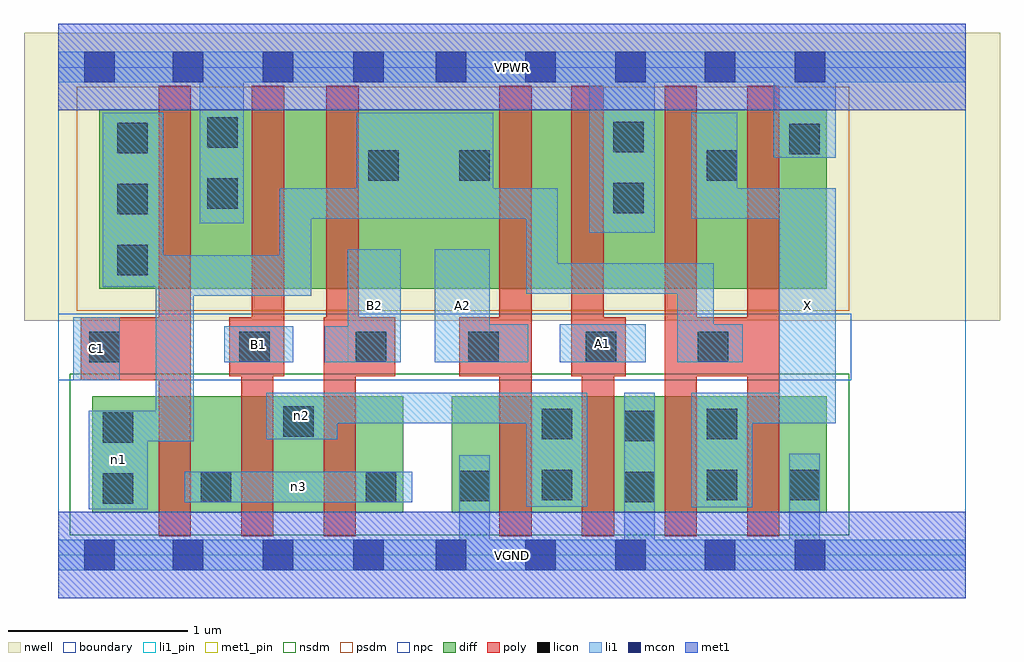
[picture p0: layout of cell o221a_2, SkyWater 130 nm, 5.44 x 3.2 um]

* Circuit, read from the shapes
.subckt o221a_2 A1 A2 B1 B2 C1 VGND VPWR X n1 n2 n3
XM1 n3 C1 n1 VSUBS sky130_fd_pr__nfet_01v8 w=0.65 l=0.18
XM2 n2 B1 n3 VSUBS sky130_fd_pr__nfet_01v8 w=0.65 l=0.18
XM3 n3 B2 n2 VSUBS sky130_fd_pr__nfet_01v8 w=0.65 l=0.18
XM4 n2 A2 VGND VSUBS sky130_fd_pr__nfet_01v8 w=0.65 l=0.18
XM5 VGND A1 n2 VSUBS sky130_fd_pr__nfet_01v8 w=0.65 l=0.18
XM6 X n1 VGND VSUBS sky130_fd_pr__nfet_01v8 w=0.65 l=0.18 m=2
XM7 VPWR C1 n1 n4 sky130_fd_pr__pfet_01v8 w=1 l=0.18
XM8 n5 B1 VPWR n4 sky130_fd_pr__pfet_01v8 w=1 l=0.18
XM9 n1 B2 n5 n4 sky130_fd_pr__pfet_01v8 w=1 l=0.18
XM10 n6 A2 n1 n4 sky130_fd_pr__pfet_01v8 w=1 l=0.18
XM11 VPWR A1 n6 n4 sky130_fd_pr__pfet_01v8 w=1 l=0.18
XM12 X n1 VPWR n4 sky130_fd_pr__pfet_01v8 w=1 l=0.18 m=2
.ends

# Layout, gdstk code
import gdstk
lib = gdstk.Library(unit=1e-6, precision=1e-09)
def R(c, l, rs):  # rectangles x0, y0, x1, y1
    for r in rs: c.add(gdstk.rectangle(r[:2], r[2:], *l))
def A(c, l, x, y, w, h, nx, ny, dx, dy):  # array of equal rectangles
    R(c, l, [(x+i*dx, y+j*dy, x+i*dx+w, y+j*dy+h) for i in range(nx) for j in range(ny)])
nwell = (64, 20)
diff = (65, 20)
poly = (66, 20)
licon = (66, 44)
li1_pin = (67, 16)
li1 = (67, 20)
mcon = (67, 44)
met1_pin = (68, 16)
met1 = (68, 20)
nsdm = (93, 44)
psdm = (94, 20)
npc = (95, 20)
boundary = (235, 4)

o221a_2 = lib.new_cell('o221a_2')
R(o221a_2, nwell, [(-0.19,1.305,5.25,2.91), (0,1.305,5.06,2.91)])
R(o221a_2, diff, [(0.19,0.235,1.925,0.885), (2.195,0.235,4.285,0.885), (0.23,1.485,4.285,2.485)])
R(o221a_2, poly, [(0.56,0.105,0.74,2.615), (1.02,0.105,1.2,1.325), (1.48,0.105,1.66,1.325), (2.46,0.105,2.64,2.615), (2.92,0.105,3.1,1.325), (3.38,0.105,3.56,2.615), (3.84,0.105,4.02,2.615), (0.125,0.975,0.74,1.325), (0.955,0.995,1.26,1.325), (1.08,0.995,1.26,2.615), (1.48,0.995,1.88,1.325), (1.495,0.995,1.675,2.615), (2.235,0.995,2.64,1.325), (2.86,0.995,3.165,1.325), (2.86,0.995,3.04,2.615), (3.38,0.995,4.02,1.325)])
A(o221a_2, licon, 0.33, 1.56, 0.17, 0.17, 1, 3, 0, 0.34)
R(o221a_2, licon, [(0.25,0.285,0.42,0.455), (0.795,0.295,0.965,0.465), (1.715,0.295,1.885,0.465), (3.155,0.295,3.325,0.465), (2.235,0.3,2.405,0.47), (2.695,0.305,2.865,0.475), (3.615,0.305,3.785,0.475), (4.075,0.305,4.245,0.475), (0.25,0.625,0.42,0.795), (3.155,0.635,3.325,0.805), (2.695,0.645,2.865,0.815), (3.615,0.645,3.785,0.815), (1.255,0.66,1.425,0.83), (0.175,1.075,0.345,1.245), (1.01,1.075,1.18,1.245), (1.66,1.075,1.83,1.245), (2.285,1.075,2.455,1.245), (2.94,1.075,3.11,1.245), (3.565,1.075,3.735,1.245), (3.095,1.905,3.265,2.075), (0.83,1.93,1,2.1), (1.73,2.085,1.9,2.255), (2.235,2.085,2.405,2.255), (3.615,2.085,3.785,2.255), (4.075,2.235,4.245,2.405), (3.095,2.245,3.265,2.415), (0.83,2.27,1,2.44)])
R(o221a_2, li1_pin, [(4.02,0.735,4.335,2.045), (0.085,0.975,0.345,1.325), (0.925,1.075,1.31,1.275), (1.615,1.075,1.91,1.705), (2.1,1.075,2.405,1.705), (2.795,1.075,3.275,1.285)])
R(o221a_2, li1, [(0,-0.085,5.06,0.085), (2.235,-0.085,2.405,0.555), (3.155,-0.085,3.325,0.905), (4.075,-0.085,4.245,0.565), (0.17,0.255,0.5,0.805), (3.53,0.265,3.87,0.905), (2.61,0.27,2.95,0.905), (0.705,0.295,1.975,0.465), (0.17,0.635,0.755,0.805), (0.545,0.635,0.755,1.67), (1.16,0.645,1.555,0.905), (1.16,0.735,2.95,0.905), (3.53,0.735,4.335,0.905), (4.02,0.735,4.335,2.045), (0.085,0.975,0.345,1.325), (0.925,1.075,1.31,1.275), (1.485,1.075,1.91,1.275), (1.615,1.075,1.91,1.705), (2.1,1.075,2.405,1.705), (2.1,1.075,2.62,1.285), (2.795,1.075,3.275,1.285), (3.45,1.075,3.815,1.285), (3.45,1.075,3.655,1.625), (0.545,1.445,1.41,1.67), (1.235,1.445,1.41,2.045), (2.61,1.455,3.655,1.625), (2.61,1.455,2.785,2.045), (0.25,1.495,0.585,2.465), (2.96,1.795,3.325,2.805), (0.79,1.85,1.035,2.805), (1.235,1.875,2.785,2.045), (1.665,1.875,2.425,2.465), (3.53,1.875,4.335,2.045), (3.53,1.875,3.785,2.465), (3.99,2.215,4.335,2.805), (0,2.635,5.06,2.805)])
A(o221a_2, mcon, 2.105, -0.085, 0.17, 0.17, 5, 2, 0.5, 2.72)
R(o221a_2, mcon, [(0.145,-0.085,0.315,0.085), (0.64,-0.085,0.81,0.085), (1.14,-0.085,1.31,0.085), (1.645,-0.085,1.815,0.085), (0.145,2.635,0.315,2.805), (0.64,2.635,0.81,2.805), (1.14,2.635,1.31,2.805), (1.645,2.635,1.815,2.805)])
R(o221a_2, met1_pin, [(0,-0.24,5.06,0.24), (0,2.48,5.06,2.96)])
R(o221a_2, met1, [(0,-0.24,5.06,0.24), (0,2.48,5.06,2.96)])
R(o221a_2, nsdm, [(0.065,0.11,4.41,1.01)])
R(o221a_2, psdm, [(0.105,1.36,4.41,2.61)])
R(o221a_2, npc, [(0,0.975,4.42,1.345)])
R(o221a_2, boundary, [(0,0,5.06,2.72)])
o221a_2.add(gdstk.Label('A1', (3.035,1.18), layer=67, texttype=5))
o221a_2.add(gdstk.Label('A2', (2.252,1.39), layer=67, texttype=5))
o221a_2.add(gdstk.Label('B1', (1.117,1.175), layer=67, texttype=5))
o221a_2.add(gdstk.Label('B2', (1.762,1.39), layer=67, texttype=5))
o221a_2.add(gdstk.Label('C1', (0.215,1.15), layer=67, texttype=5))
o221a_2.add(gdstk.Label('X', (4.177,1.39), layer=67, texttype=5))
o221a_2.add(gdstk.Label('n3', (1.34,0.38), layer=67, texttype=5))
o221a_2.add(gdstk.Label('n2', (1.357,0.775), layer=67, texttype=5))
o221a_2.add(gdstk.Label('n1', (0.335,0.53), layer=67, texttype=5))
o221a_2.add(gdstk.Label('VPWR', (2.53,2.72), layer=68, texttype=5))
o221a_2.add(gdstk.Label('VGND', (2.53,0), layer=68, texttype=5))
o221a_2.add(gdstk.Label('A1', (3.035,1.18), layer=67, texttype=16))
o221a_2.add(gdstk.Label('A2', (2.252,1.39), layer=67, texttype=16))
o221a_2.add(gdstk.Label('B1', (1.117,1.175), layer=67, texttype=16))
o221a_2.add(gdstk.Label('B2', (1.762,1.39), layer=67, texttype=16))
o221a_2.add(gdstk.Label('C1', (0.215,1.15), layer=67, texttype=16))
o221a_2.add(gdstk.Label('X', (4.177,1.39), layer=67, texttype=16))
o221a_2.add(gdstk.Label('VPWR', (2.53,2.72), layer=68, texttype=16))
o221a_2.add(gdstk.Label('VGND', (2.53,0), layer=68, texttype=16))

lib.write_gds('o221a_2.gds')
